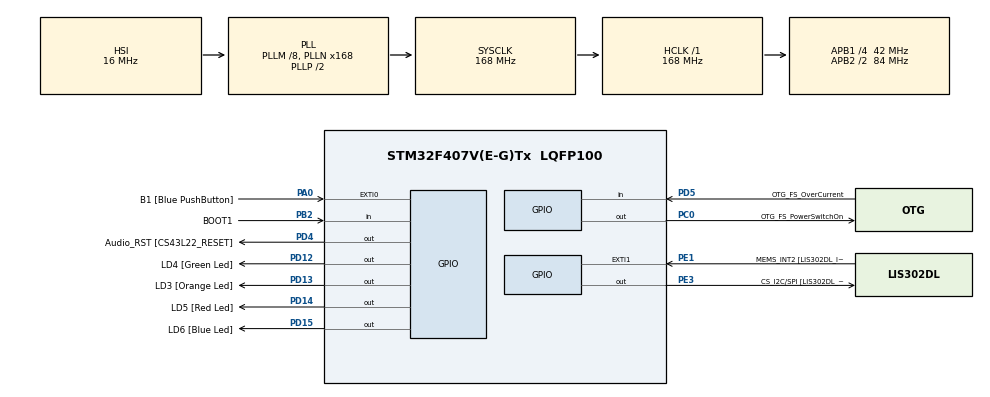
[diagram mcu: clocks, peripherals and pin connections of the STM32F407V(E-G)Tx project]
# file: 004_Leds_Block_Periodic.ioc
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Mcu.Family=STM32F4
Mcu.Name=STM32F407V(E-G)Tx
Mcu.Package=LQFP100
NVIC.PriorityGroup=NVIC_PRIORITYGROUP_4
NVIC.TIM6_DAC_IRQn=true\:0\:0\:false\:false\:true\:false\:true\:true
NVIC.TimeBase=TIM6_DAC_IRQn
NVIC.TimeBaseIP=TIM6
PA0-WKUP.GPIO_Label=B1 [Blue PushButton]
PA0-WKUP.Signal=GPXTI0
PA10.GPIO_Label=OTG_FS_ID
PA10.GPIO_Mode=GPIO_MODE_AF_PP
PA10.GPIO_PuPd=GPIO_NOPULL
PA10.GPIO_Speed=GPIO_SPEED_FREQ_LOW
PA10.Signal=USB_OTG_FS_ID
PA11.GPIO_Label=OTG_FS_DM
PA11.GPIO_Mode=GPIO_MODE_AF_PP
PA11.GPIO_PuPd=GPIO_NOPULL
PA11.GPIO_Speed=GPIO_SPEED_FREQ_LOW
PA11.Signal=USB_OTG_FS_DM
PA12.GPIO_Label=OTG_FS_DP
PA12.GPIO_Mode=GPIO_MODE_AF_PP
PA12.GPIO_PuPd=GPIO_NOPULL
PA12.GPIO_Speed=GPIO_SPEED_FREQ_LOW
PA12.Signal=USB_OTG_FS_DP
PA13.GPIO_Label=SWDIO
PA13.Signal=SYS_JTMS-SWDIO
PA14.GPIO_Label=SWCLK
PA14.Signal=SYS_JTCK-SWCLK
PA4.GPIO_Label=I2S3_WS [CS43L22_LRCK]
PA4.GPIO_Mode=GPIO_MODE_AF_PP
PA4.GPIO_PuPd=GPIO_NOPULL
PA4.GPIO_Speed=GPIO_SPEED_FREQ_LOW
PA4.Signal=I2S3_WS
PA5.GPIO_Label=SPI1_SCK [LIS302DL_SCL/SPC]
PA5.GPIO_Mode=GPIO_MODE_AF_PP
PA5.GPIO_PuPd=GPIO_NOPULL
PA5.GPIO_Speed=GPIO_SPEED_FREQ_LOW
PA5.Signal=SPI1_SCK
PA6.GPIO_Label=SPI1_MISO [LIS302DL_SDO]
PA6.GPIO_Mode=GPIO_MODE_AF_PP
PA6.GPIO_PuPd=GPIO_NOPULL
PA6.GPIO_Speed=GPIO_SPEED_FREQ_LOW
PA6.Signal=SPI1_MISO
PA7.GPIO_Label=SPI1_MOSI [LIS302DL_SDA/SDI/SDO]
PA7.GPIO_Mode=GPIO_MODE_AF_PP
PA7.GPIO_PuPd=GPIO_NOPULL
PA7.GPIO_Speed=GPIO_SPEED_FREQ_LOW
PA7.Signal=SPI1_MOSI
PA9.GPIO_Label=VBUS_FS
PA9.GPIO_Mode=GPIO_MODE_INPUT
PA9.GPIO_PuPd=GPIO_NOPULL
PA9.Signal=USB_OTG_FS_VBUS
PB10.GPIO_Label=CLK_IN [MP45DT02_CLK]
PB10.GPIO_Mode=GPIO_MODE_AF_PP
PB10.GPIO_PuPd=GPIO_NOPULL
PB10.GPIO_Speed=GPIO_SPEED_FREQ_LOW
PB10.Signal=I2S2_CK
PB2.GPIO_Label=BOOT1
PB2.GPIO_Mode=GPIO_MODE_INPUT
PB2.GPIO_PuPd=GPIO_NOPULL
PB2.Signal=GPIO_Input
PB3.GPIO_Label=SWO
PB3.Signal=SYS_JTDO-SWO
PB6.GPIO_Label=Audio_SCL [CS43L22_SCL]
PB6.GPIO_Mode=GPIO_MODE_AF_OD
PB6.GPIO_PuPd=GPIO_NOPULL
PB6.GPIO_Speed=GPIO_SPEED_FREQ_LOW
PB6.Signal=I2C1_SCL
PB9.GPIO_Label=Audio_SDA [CS43L22_SDA]
PB9.GPIO_Mode=GPIO_MODE_AF_OD
PB9.GPIO_PuPd=GPIO_NOPULL
PB9.GPIO_Speed=GPIO_SPEED_FREQ_LOW
PB9.Signal=I2C1_SDA
PC0.GPIO_Label=OTG_FS_PowerSwitchOn
PC0.GPIO_PuPd=GPIO_NOPULL
PC0.GPIO_Speed=GPIO_SPEED_FREQ_LOW
PC0.PinState=GPIO_PIN_SET
PC0.Signal=GPIO_Output
PC10.GPIO_Label=I2S3_SCK [CS43L22_SCLK]
PC10.GPIO_Mode=GPIO_MODE_AF_PP
PC10.GPIO_PuPd=GPIO_NOPULL
PC10.GPIO_Speed=GPIO_SPEED_FREQ_LOW
PC10.Signal=I2S3_CK
PC12.GPIO_Label=I2S3_SD [CS43L22_SDIN]
PC12.GPIO_Mode=GPIO_MODE_AF_PP
PC12.GPIO_PuPd=GPIO_NOPULL
PC12.GPIO_Speed=GPIO_SPEED_FREQ_LOW
PC12.Signal=I2S3_SD
PC14-OSC32_IN.GPIO_Label=PC14-OSC32_IN
PC14-OSC32_IN.Signal=RCC_OSC32_IN
PC15-OSC32_OUT.GPIO_Label=PC15-OSC32_OUT
PC15-OSC32_OUT.Signal=RCC_OSC32_OUT
PC3.GPIO_Label=PDM_OUT [MP45DT02_DOUT]
PC3.GPIO_Mode=GPIO_MODE_AF_PP
PC3.GPIO_PuPd=GPIO_NOPULL
PC3.GPIO_Speed=GPIO_SPEED_FREQ_LOW
PC3.Signal=I2S2_SD
PC7.GPIO_Label=I2S3_MCK [CS43L22_MCLK]
PC7.GPIO_Mode=GPIO_MODE_AF_PP
PC7.GPIO_PuPd=GPIO_NOPULL
PC7.GPIO_Speed=GPIO_SPEED_FREQ_LOW
PC7.Signal=I2S3_MCK
PD12.GPIO_Label=LD4 [Green Led]
PD12.GPIO_PuPd=GPIO_NOPULL
PD12.GPIO_Speed=GPIO_SPEED_FREQ_LOW
PD12.Signal=GPIO_Output
PD13.GPIO_Label=LD3 [Orange Led]
PD13.GPIO_PuPd=GPIO_NOPULL
PD13.GPIO_Speed=GPIO_SPEED_FREQ_LOW
PD13.Signal=GPIO_Output
PD14.GPIO_Label=LD5 [Red Led]
PD14.GPIO_PuPd=GPIO_NOPULL
PD14.GPIO_Speed=GPIO_SPEED_FREQ_LOW
PD14.Signal=GPIO_Output
PD15.GPIO_Label=LD6 [Blue Led]
PD15.GPIO_PuPd=GPIO_NOPULL
PD15.GPIO_Speed=GPIO_SPEED_FREQ_LOW
PD15.Signal=GPIO_Output
PD4.GPIO_Label=Audio_RST [CS43L22_RESET]
PD4.GPIO_PuPd=GPIO_NOPULL
PD4.GPIO_Speed=GPIO_SPEED_FREQ_LOW
PD4.Signal=GPIO_Output
PD5.GPIO_Label=OTG_FS_OverCurrent
PD5.GPIO_Mode=GPIO_MODE_INPUT
PD5.GPIO_PuPd=GPIO_NOPULL
PD5.Signal=GPIO_Input
PE1.GPIO_Label=MEMS_INT2 [LIS302DL_INT2]
PE1.GPIO_ModeDefaultEXTI=GPIO_MODE_EVT_RISING
PE1.GPIO_PuPd=GPIO_NOPULL
PE1.Signal=GPXTI1
PE3.GPIO_Label=CS_I2C/SPI [LIS302DL_CS_I2C/SPI]
PE3.GPIO_PuPd=GPIO_NOPULL
PE3.GPIO_Speed=GPIO_SPEED_FREQ_LOW
PE3.Signal=GPIO_Output
PH0-OSC_IN.GPIO_Label=PH0-OSC_IN
PH0-OSC_IN.Signal=RCC_OSC_IN
PH1-OSC_OUT.GPIO_Label=PH1-OSC_OUT
PH1-OSC_OUT.Signal=RCC_OSC_OUT
ProjectManager.HeapSize=0x200
ProjectManager.StackSize=0x400
ProjectManager.TargetToolchain=STM32CubeIDE
RCC.48MHZClocksFreq_Value=48000000
RCC.AHBFreq_Value=168000000
RCC.APB1CLKDivider=RCC_HCLK_DIV4
RCC.APB1Freq_Value=42000000
RCC.APB1TimFreq_Value=84000000
RCC.APB2CLKDivider=RCC_HCLK_DIV2
RCC.APB2Freq_Value=84000000
RCC.APB2TimFreq_Value=168000000
RCC.CortexFreq_Value=168000000
RCC.HCLKFreq_Value=168000000
RCC.HSE_VALUE=8000000
RCC.HSI_VALUE=16000000
RCC.LSE_VALUE=32768
RCC.PLLM=8
RCC.PLLN=168
RCC.PLLQ=7
RCC.SYSCLKFreq_VALUE=168000000
RCC.SYSCLKSource=RCC_SYSCLKSOURCE_PLLCLK
RCC.VCOOutputFreq_Value=336000000
VP_SYS_VS_tim6.Mode=TIM6
board=STM32F407G-DISC1

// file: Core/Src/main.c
/* USER CODE BEGIN Header */
/**
  ******************************************************************************
  * @file           : main.c
  * @brief          : Main program body
  ******************************************************************************
  * @attention
  *
  * Copyright (c) 2025 STMicroelectronics.
  * All rights reserved.
  *
  * This software is licensed under terms that can be found in the LICENSE file
  * in the root directory of this software component.
  * If no LICENSE file comes with this software, it is provided AS-IS.
  *
  ******************************************************************************
  */
/* USER CODE END Header */
#include "main.h"

/* USER CODE BEGIN Includes */

#include <stdio.h>
#include "FreeRTOS.h"
#include "task.h"

/* USER CODE END Includes */

/* USER CODE BEGIN PV */

#define DWT_CTRL    (*(volatile uint32_t*)0xE0001000)

/* USER CODE END PV */

void SystemClock_Config(void);
static void MX_GPIO_Init(void);
/* USER CODE BEGIN PFP */

static void led_green_handler(void* parameters);
static void led_red_handler(void* parameters);
static void led_orange_handler(void* parameters);

/* USER CODE END PFP */

/* USER CODE BEGIN 0 */

/* Enable this function to enable swv*/
//int _write(int file, char *ptr, int len)
//{
//  (void)file;
//  int DataIdx;
//
//  for (DataIdx = 0; DataIdx < len; DataIdx++)
//  {
//    //__io_putchar(*ptr++);
//    ITM_SendChar((*ptr++));
//  }
//  return len;
//}

/* USER CODE END 0 */

int main(void)
{

  /* USER CODE BEGIN 1 */

	TaskHandle_t task1_handle;
	TaskHandle_t task2_handle;

	BaseType_t status;

  /* USER CODE END 1 */

  /* MCU Configuration--------------------------------------------------------*/

  /* Reset of all peripherals, Initializes the Flash interface and the Systick. */
  HAL_Init();

  /* Configure the system clock */
  SystemClock_Config();

  /* Initialize all configured peripherals */
  MX_GPIO_Init();
  /* USER CODE BEGIN 2 */

  DWT_CTRL |= (1 << 0);

  SEGGER_SYSVIEW_Conf();
  SEGGER_SYSVIEW_Start();

  status = xTaskCreate(led_green_handler, "led_green_task", 200, "NULL", 2, &task1_handle);
  configASSERT(status == pdPASS);

  status = xTaskCreate(led_red_handler, "led_red_task", 200, "NULL", 2, &task2_handle);
  configASSERT(status == pdPASS);

  status = xTaskCreate(led_orange_handler, "led_orange_task", 200, "NULL", 2, &task2_handle);
  configASSERT(status == pdPASS);

  //start the freeRTOS scheduler
  vTaskStartScheduler();

  //if the control comes here, then the launch of the scheduler has failed due to
  //insufficient memory in heap

  /* USER CODE END 2 */

  /* Infinite loop */
  while (1)
  {

  }
}

void SystemClock_Config(void)
{
  RCC_OscInitTypeDef RCC_OscInitStruct = {0};
  RCC_ClkInitTypeDef RCC_ClkInitStruct = {0};

  /** Configure the main internal regulator output voltage
  */
  __HAL_RCC_PWR_CLK_ENABLE();
  __HAL_PWR_VOLTAGESCALING_CONFIG(PWR_REGULATOR_VOLTAGE_SCALE1);

  /** Initializes the RCC Oscillators according to the specified parameters
  * in the RCC_OscInitTypeDef structure.
  */
  RCC_OscInitStruct.OscillatorType = RCC_OSCILLATORTYPE_HSI;
  RCC_OscInitStruct.HSIState = RCC_HSI_ON;
  RCC_OscInitStruct.HSICalibrationValue = RCC_HSICALIBRATION_DEFAULT;
  RCC_OscInitStruct.PLL.PLLState = RCC_PLL_ON;
  RCC_OscInitStruct.PLL.PLLSource = RCC_PLLSOURCE_HSI;
  RCC_OscInitStruct.PLL.PLLM = 8;
  RCC_OscInitStruct.PLL.PLLN = 168;
  RCC_OscInitStruct.PLL.PLLP = RCC_PLLP_DIV2;
  RCC_OscInitStruct.PLL.PLLQ = 7;
  if (HAL_RCC_OscConfig(&RCC_OscInitStruct) != HAL_OK)
  {
    Error_Handler();
  }

  /** Initializes the CPU, AHB and APB buses clocks
  */
  RCC_ClkInitStruct.ClockType = RCC_CLOCKTYPE_HCLK|RCC_CLOCKTYPE_SYSCLK
                              |RCC_CLOCKTYPE_PCLK1|RCC_CLOCKTYPE_PCLK2;
  RCC_ClkInitStruct.SYSCLKSource = RCC_SYSCLKSOURCE_PLLCLK;
  RCC_ClkInitStruct.AHBCLKDivider = RCC_SYSCLK_DIV1;
  RCC_ClkInitStruct.APB1CLKDivider = RCC_HCLK_DIV4;
  RCC_ClkInitStruct.APB2CLKDivider = RCC_HCLK_DIV2;

  if (HAL_RCC_ClockConfig(&RCC_ClkInitStruct, FLASH_LATENCY_5) != HAL_OK)
  {
    Error_Handler();
  }
}

static void MX_GPIO_Init(void)
{
  GPIO_InitTypeDef GPIO_InitStruct = {0};

  /* GPIO Ports Clock Enable */
  __HAL_RCC_GPIOE_CLK_ENABLE();
  __HAL_RCC_GPIOC_CLK_ENABLE();
  __HAL_RCC_GPIOH_CLK_ENABLE();
  __HAL_RCC_GPIOA_CLK_ENABLE();
  __HAL_RCC_GPIOB_CLK_ENABLE();
  __HAL_RCC_GPIOD_CLK_ENABLE();

  /*Configure GPIO pin Output Level */
  HAL_GPIO_WritePin(CS_I2C_SPI_GPIO_Port, CS_I2C_SPI_Pin, GPIO_PIN_RESET);

  /*Configure GPIO pin Output Level */
  HAL_GPIO_WritePin(OTG_FS_PowerSwitchOn_GPIO_Port, OTG_FS_PowerSwitchOn_Pin, GPIO_PIN_SET);

  /*Configure GPIO pin Output Level */
  HAL_GPIO_WritePin(GPIOD, LD4_Pin|LD3_Pin|LD5_Pin|LD6_Pin
                          |Audio_RST_Pin, GPIO_PIN_RESET);

  /*Configure GPIO pin : CS_I2C_SPI_Pin */
  GPIO_InitStruct.Pin = CS_I2C_SPI_Pin;
  GPIO_InitStruct.Mode = GPIO_MODE_OUTPUT_PP;
  GPIO_InitStruct.Pull = GPIO_NOPULL;
  GPIO_InitStruct.Speed = GPIO_SPEED_FREQ_LOW;
  HAL_GPIO_Init(CS_I2C_SPI_GPIO_Port, &GPIO_InitStruct);

  /*Configure GPIO pin : OTG_FS_PowerSwitchOn_Pin */
  GPIO_InitStruct.Pin = OTG_FS_PowerSwitchOn_Pin;
  GPIO_InitStruct.Mode = GPIO_MODE_OUTPUT_PP;
  GPIO_InitStruct.Pull = GPIO_NOPULL;
  GPIO_InitStruct.Speed = GPIO_SPEED_FREQ_LOW;
  HAL_GPIO_Init(OTG_FS_PowerSwitchOn_GPIO_Port, &GPIO_InitStruct);

  /*Configure GPIO pin : PDM_OUT_Pin */
  GPIO_InitStruct.Pin = PDM_OUT_Pin;
  GPIO_InitStruct.Mode = GPIO_MODE_AF_PP;
  GPIO_InitStruct.Pull = GPIO_NOPULL;
  GPIO_InitStruct.Speed = GPIO_SPEED_FREQ_LOW;
  GPIO_InitStruct.Alternate = GPIO_AF5_SPI2;
  HAL_GPIO_Init(PDM_OUT_GPIO_Port, &GPIO_InitStruct);

  /*Configure GPIO pin : B1_Pin */
  GPIO_InitStruct.Pin = B1_Pin;
  GPIO_InitStruct.Mode = GPIO_MODE_IT_RISING;
  GPIO_InitStruct.Pull = GPIO_NOPULL;
  HAL_GPIO_Init(B1_GPIO_Port, &GPIO_InitStruct);

  /*Configure GPIO pin : I2S3_WS_Pin */
  GPIO_InitStruct.Pin = I2S3_WS_Pin;
  GPIO_InitStruct.Mode = GPIO_MODE_AF_PP;
  GPIO_InitStruct.Pull = GPIO_NOPULL;
  GPIO_InitStruct.Speed = GPIO_SPEED_FREQ_LOW;
  GPIO_InitStruct.Alternate = GPIO_AF6_SPI3;
  HAL_GPIO_Init(I2S3_WS_GPIO_Port, &GPIO_InitStruct);

  /*Configure GPIO pins : SPI1_SCK_Pin SPI1_MISO_Pin SPI1_MOSI_Pin */
  GPIO_InitStruct.Pin = SPI1_SCK_Pin|SPI1_MISO_Pin|SPI1_MOSI_Pin;
  GPIO_InitStruct.Mode = GPIO_MODE_AF_PP;
  GPIO_InitStruct.Pull = GPIO_NOPULL;
  GPIO_InitStruct.Speed = GPIO_SPEED_FREQ_LOW;
  GPIO_InitStruct.Alternate = GPIO_AF5_SPI1;
  HAL_GPIO_Init(GPIOA, &GPIO_InitStruct);

  /*Configure GPIO pin : BOOT1_Pin */
  GPIO_InitStruct.Pin = BOOT1_Pin;
  GPIO_InitStruct.Mode = GPIO_MODE_INPUT;
  GPIO_InitStruct.Pull = GPIO_NOPULL;
  HAL_GPIO_Init(BOOT1_GPIO_Port, &GPIO_InitStruct);

  /*Configure GPIO pin : CLK_IN_Pin */
  GPIO_InitStruct.Pin = CLK_IN_Pin;
  GPIO_InitStruct.Mode = GPIO_MODE_AF_PP;
  GPIO_InitStruct.Pull = GPIO_NOPULL;
  GPIO_InitStruct.Speed = GPIO_SPEED_FREQ_LOW;
  GPIO_InitStruct.Alternate = GPIO_AF5_SPI2;
  HAL_GPIO_Init(CLK_IN_GPIO_Port, &GPIO_InitStruct);

  /*Configure GPIO pins : LD4_Pin LD3_Pin LD5_Pin LD6_Pin
                           Audio_RST_Pin */
  GPIO_InitStruct.Pin = LD4_Pin|LD3_Pin|LD5_Pin|LD6_Pin
                          |Audio_RST_Pin;
  GPIO_InitStruct.Mode = GPIO_MODE_OUTPUT_PP;
  GPIO_InitStruct.Pull = GPIO_NOPULL;
  GPIO_InitStruct.Speed = GPIO_SPEED_FREQ_LOW;
  HAL_GPIO_Init(GPIOD, &GPIO_InitStruct);

  /*Configure GPIO pins : I2S3_MCK_Pin I2S3_SCK_Pin I2S3_SD_Pin */
  GPIO_InitStruct.Pin = I2S3_MCK_Pin|I2S3_SCK_Pin|I2S3_SD_Pin;
  GPIO_InitStruct.Mode = GPIO_MODE_AF_PP;
  GPIO_InitStruct.Pull = GPIO_NOPULL;
  GPIO_InitStruct.Speed = GPIO_SPEED_FREQ_LOW;
  GPIO_InitStruct.Alternate = GPIO_AF6_SPI3;
  HAL_GPIO_Init(GPIOC, &GPIO_InitStruct);

  /*Configure GPIO pin : VBUS_FS_Pin */
  GPIO_InitStruct.Pin = VBUS_FS_Pin;
  GPIO_InitStruct.Mode = GPIO_MODE_INPUT;
  GPIO_InitStruct.Pull = GPIO_NOPULL;
  HAL_GPIO_Init(VBUS_FS_GPIO_Port, &GPIO_InitStruct);

  /*Configure GPIO pins : OTG_FS_ID_Pin OTG_FS_DM_Pin OTG_FS_DP_Pin */
  GPIO_InitStruct.Pin = OTG_FS_ID_Pin|OTG_FS_DM_Pin|OTG_FS_DP_Pin;
  GPIO_InitStruct.Mode = GPIO_MODE_AF_PP;
  GPIO_InitStruct.Pull = GPIO_NOPULL;
  GPIO_InitStruct.Speed = GPIO_SPEED_FREQ_LOW;
  GPIO_InitStruct.Alternate = GPIO_AF10_OTG_FS;
  HAL_GPIO_Init(GPIOA, &GPIO_InitStruct);

  /*Configure GPIO pin : OTG_FS_OverCurrent_Pin */
  GPIO_InitStruct.Pin = OTG_FS_OverCurrent_Pin;
  GPIO_InitStruct.Mode = GPIO_MODE_INPUT;
  GPIO_InitStruct.Pull = GPIO_NOPULL;
  HAL_GPIO_Init(OTG_FS_OverCurrent_GPIO_Port, &GPIO_InitStruct);

  /*Configure GPIO pins : Audio_SCL_Pin Audio_SDA_Pin */
  GPIO_InitStruct.Pin = Audio_SCL_Pin|Audio_SDA_Pin;
  GPIO_InitStruct.Mode = GPIO_MODE_AF_OD;
  GPIO_InitStruct.Pull = GPIO_NOPULL;
  GPIO_InitStruct.Speed = GPIO_SPEED_FREQ_LOW;
  GPIO_InitStruct.Alternate = GPIO_AF4_I2C1;
  HAL_GPIO_Init(GPIOB, &GPIO_InitStruct);

  /*Configure GPIO pin : MEMS_INT2_Pin */
  GPIO_InitStruct.Pin = MEMS_INT2_Pin;
  GPIO_InitStruct.Mode = GPIO_MODE_EVT_RISING;
  GPIO_InitStruct.Pull = GPIO_NOPULL;
  HAL_GPIO_Init(MEMS_INT2_GPIO_Port, &GPIO_InitStruct);

}

/* USER CODE BEGIN 4 */

static void led_green_handler(void* parameters)
{
	TickType_t last_wakeup_time;
	last_wakeup_time = xTaskGetTickCount();

	while(1){
		SEGGER_SYSVIEW_PrintfTarget("Toggling Green LED");
		HAL_GPIO_TogglePin(GPIOD, LED_GREEN_PIN);
		vTaskDelayUntil(&last_wakeup_time, pdMS_TO_TICKS(1000));
	}
}

static void led_red_handler(void* parameters)
{
	TickType_t last_wakeup_time;
	last_wakeup_time = xTaskGetTickCount();

	while(1){
		SEGGER_SYSVIEW_PrintfTarget("Toggling Red LED");
		HAL_GPIO_TogglePin(GPIOD, LED_RED_PIN);
		vTaskDelayUntil(&last_wakeup_time, pdMS_TO_TICKS(800));
	}
}

static void led_orange_handler(void* parameters)
{
	TickType_t last_wakeup_time;
	last_wakeup_time = xTaskGetTickCount();

	while(1){
		SEGGER_SYSVIEW_PrintfTarget("Toggling Orange LED");
		HAL_GPIO_TogglePin(GPIOD, LED_ORANGE_PIN);
		vTaskDelayUntil(&last_wakeup_time, pdMS_TO_TICKS(400));
	}
}

/* USER CODE END 4 */

void HAL_TIM_PeriodElapsedCallback(TIM_HandleTypeDef *htim)
{
  if (htim->Instance == TIM6)
  {
    HAL_IncTick();
  }
}

void Error_Handler(void)
{
  __disable_irq();
  while (1)
  {
  }
}
